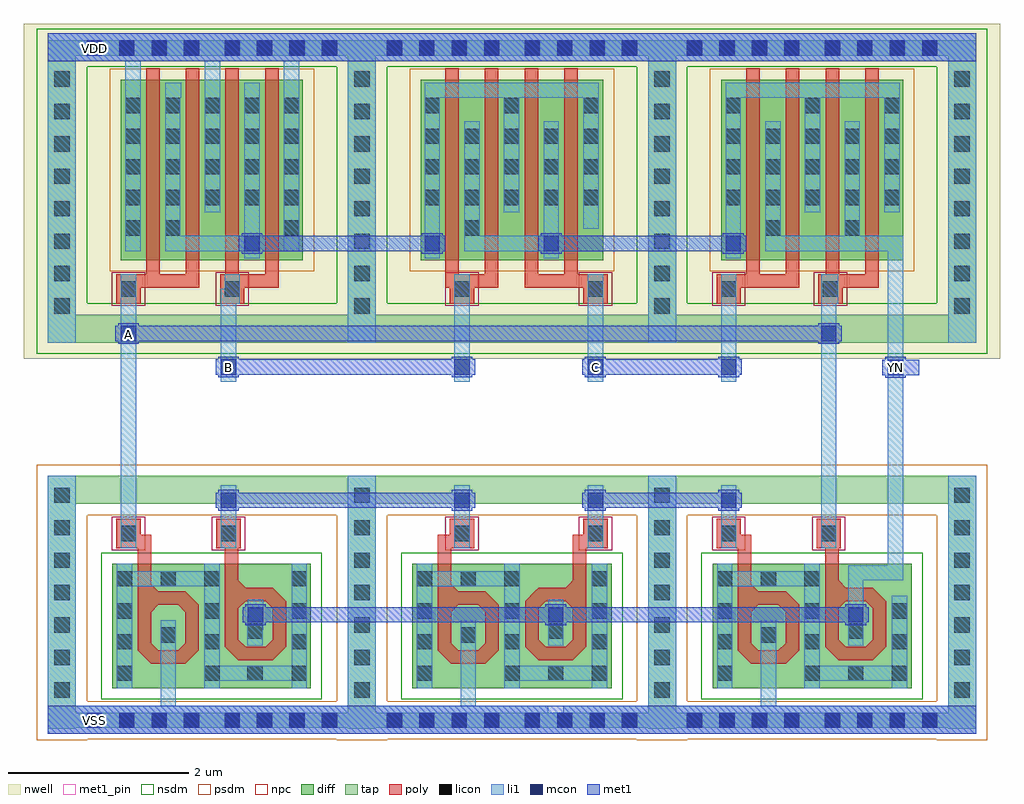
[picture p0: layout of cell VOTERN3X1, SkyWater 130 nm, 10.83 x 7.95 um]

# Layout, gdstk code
import gdstk
lib = gdstk.Library(unit=1e-6, precision=1e-09)
def R(c, l, rs):  # rectangles x0, y0, x1, y1
    for r in rs: c.add(gdstk.rectangle(r[:2], r[2:], *l))
def A(c, l, x, y, w, h, nx, ny, dx, dy):  # array of equal rectangles
    R(c, l, [(x+i*dx, y+j*dy, x+i*dx+w, y+j*dy+h) for i in range(nx) for j in range(ny)])
def P(c, l, *ps):  # polygons
    for p in ps: c.add(gdstk.Polygon(p, *l))
nwell = (64, 20)
diff = (65, 20)
tap = (65, 44)
poly = (66, 20)
licon = (66, 44)
li1 = (67, 20)
mcon = (67, 44)
met1_pin = (68, 16)
met1 = (68, 20)
nsdm = (93, 44)
psdm = (94, 20)
npc = (95, 20)

votern3x1 = lib.new_cell('VOTERN3X1')
R(votern3x1, nwell, [(-0.42,4.165,10.41,7.88)])
A(votern3x1, diff, 0.655, 5.26, 2.02, 2, 3, 1, 3.33, 0)
R(votern3x1, diff, [(0.56,0.51,2.76,1.89), (3.89,0.51,6.1,1.89), (7.22,0.51,9.43,1.89)])
A(votern3x1, tap, -0.155, 0.06, 0.31, 0.01, 4, 1, 3.33, 0)
A(votern3x1, tap, -0.155, 0.24, 0.31, 2.315, 4, 1, 3.33, 0)
A(votern3x1, tap, -0.155, 4.655, 0.31, 2.875, 4, 1, 3.33, 0)
R(votern3x1, tap, [(-0.155,0.07,10.145,0.24), (-0.155,2.555,10.145,2.865), (-0.155,4.345,10.145,4.655), (-0.155,7.53,10.145,7.7)])
A(votern3x1, poly, 1.96, 0.82, 0.38, 0.15, 3, 1, 3.33, 0)
A(votern3x1, poly, 0.84, 1.435, 0.53, 0.15, 3, 1, 3.33, 0)
A(votern3x1, poly, 0.84, 1.585, 0.15, 0.475, 3, 1, 3.33, 0)
A(votern3x1, poly, 4.305, 2.21, 0.27, 0.18, 3, 2, 1.48, 2.565)
A(votern3x1, poly, 0.935, 5.105, 0.15, 2.285, 4, 1, 0.44, 0)
A(votern3x1, poly, 4.255, 5.105, 0.15, 2.285, 4, 1, 0.44, 0)
A(votern3x1, poly, 7.595, 5.105, 0.15, 2.285, 4, 1, 0.44, 0)
R(votern3x1, poly, [(0.99,0.78,1.37,0.93), (4.32,0.78,4.7,0.82), (7.65,0.78,8.03,0.82), (4.28,0.82,4.7,0.93), (7.61,0.82,8.03,0.93), (0.84,0.93,0.99,1.435), (1.37,0.93,1.52,1.435), (4.17,0.93,4.32,1.435), (4.7,0.93,4.85,1.435), (7.5,0.93,7.65,1.435), (8.03,0.93,8.18,1.435), (1.81,0.97,1.96,1.475), (2.34,0.97,2.49,1.475), (5.14,0.97,5.29,1.475), (5.67,0.97,5.82,1.475), (8.47,0.97,8.62,1.4), (9,0.97,9.15,1.4), (8.47,1.4,8.625,1.475), (8.995,1.4,9.15,1.475), (1.81,1.475,2.34,1.625), (5.25,1.475,5.82,1.585), (8.47,1.475,9,1.625), (5.29,1.585,5.82,1.625), (1.81,1.625,1.96,2.06), (5.63,1.625,5.82,1.665), (8.47,1.625,8.62,2.06), (5.67,1.665,5.82,2.06), (0.605,2.06,0.99,2.21), (1.715,2.06,1.985,2.39), (4.17,2.06,4.575,2.21), (5.67,2.06,6.055,2.21), (7.265,2.06,7.65,2.21), (8.375,2.06,8.645,2.39), (0.605,2.21,0.875,2.39), (0.605,4.775,0.875,4.955), (1.755,4.775,2.025,4.955), (8.395,4.775,8.665,4.955), (0.605,4.955,1.525,5.105), (1.755,4.955,2.405,5.105), (4.255,4.955,4.845,5.105), (5.135,4.955,6.055,5.105), (7.265,4.955,8.185,5.105), (8.395,4.955,9.065,5.105)])
P(votern3x1, poly, [(0.99,1.665),(0.99,1.585),(1.07,1.585)],
  [(1.96,1.705),(1.96,1.625),(2.04,1.625)],
  [(1.37,1.585),(1.37,1.435),(1.52,1.435)],
  [(0.99,1.355),(0.99,1.435),(1.07,1.435)],
  [(1.29,1.435),(1.37,1.435),(1.37,1.355)],
  [(0.99,1.01),(0.99,0.93),(1.07,0.93)],
  [(1.29,0.93),(1.37,0.93),(1.37,1.01)],
  [(0.84,0.93),(0.99,0.93),(0.99,0.78)],
  [(1.37,0.78),(1.37,0.93),(1.52,0.93)],
  [(2.34,1.625),(2.34,1.475),(2.49,1.475)],
  [(1.96,1.395),(1.96,1.475),(2.04,1.475)],
  [(2.26,1.475),(2.34,1.475),(2.34,1.395)],
  [(1.96,1.05),(1.96,0.97),(2.04,0.97)],
  [(2.26,0.97),(2.34,0.97),(2.34,1.05)],
  [(1.81,0.97),(1.96,0.97),(1.96,0.82)],
  [(2.34,0.82),(2.34,0.97),(2.49,0.97)],
  [(5.63,1.665),(5.67,1.665),(5.67,1.705)],
  [(4.32,1.665),(4.32,1.585),(4.4,1.585)],
  [(5.59,1.625),(5.63,1.625),(5.63,1.665)],
  [(5.25,1.585),(5.29,1.585),(5.29,1.625)],
  [(4.7,1.585),(4.7,1.435),(4.85,1.435)],
  [(4.32,1.355),(4.32,1.435),(4.4,1.435)],
  [(4.62,1.435),(4.7,1.435),(4.7,1.355)],
  [(4.32,1.01),(4.32,0.93),(4.4,0.93)],
  [(4.62,0.93),(4.7,0.93),(4.7,1.01)],
  [(4.17,0.93),(4.28,0.93),(4.28,0.82)],
  [(4.28,0.82),(4.32,0.82),(4.32,0.78)],
  [(4.7,0.78),(4.7,0.93),(4.85,0.93)],
  [(5.14,1.475),(5.25,1.475),(5.25,1.585)],
  [(5.29,1.395),(5.29,1.475),(5.37,1.475)],
  [(5.59,1.475),(5.67,1.475),(5.67,1.395)],
  [(5.29,1.05),(5.29,0.97),(5.37,0.97)],
  [(5.59,0.97),(5.67,0.97),(5.67,1.05)],
  [(5.14,0.97),(5.29,0.97),(5.29,0.82)],
  [(5.67,0.82),(5.67,0.97),(5.82,0.97)],
  [(7.65,1.665),(7.65,1.585),(7.73,1.585)],
  [(8.62,1.705),(8.62,1.625),(8.7,1.625)],
  [(8.03,1.585),(8.03,1.435),(8.18,1.435)],
  [(7.65,1.355),(7.65,1.435),(7.73,1.435)],
  [(7.95,1.435),(8.03,1.435),(8.03,1.355)],
  [(7.65,1.01),(7.65,0.93),(7.73,0.93)],
  [(7.95,0.93),(8.03,0.93),(8.03,1.01)],
  [(7.5,0.93),(7.61,0.93),(7.61,0.82)],
  [(7.61,0.82),(7.65,0.82),(7.65,0.78)],
  [(8.03,0.78),(8.03,0.93),(8.18,0.93)],
  [(9,1.625),(9,1.475),(9.15,1.475)],
  [(8.625,1.4),(8.625,1.475),(8.7,1.475)],
  [(8.92,1.475),(8.995,1.475),(8.995,1.4)],
  [(8.62,1.05),(8.62,0.97),(8.7,0.97)],
  [(8.92,0.97),(9,0.97),(9,1.05)],
  [(8.47,0.97),(8.62,0.97),(8.62,0.82)],
  [(9,0.82),(9,0.97),(9.15,0.97)])
A(votern3x1, licon, 0.275, 0.07, 0.17, 0.17, 4, 2, 0.36, 7.46)
A(votern3x1, licon, 1.805, 0.07, 0.17, 0.17, 4, 2, 0.36, 7.46)
A(votern3x1, licon, 3.605, 0.07, 0.17, 0.17, 4, 2, 0.36, 7.46)
A(votern3x1, licon, 5.135, 0.07, 0.17, 0.17, 4, 2, 0.36, 7.46)
A(votern3x1, licon, 6.935, 0.07, 0.17, 0.17, 4, 2, 0.36, 7.46)
A(votern3x1, licon, 8.465, 0.07, 0.17, 0.17, 4, 2, 0.36, 7.46)
A(votern3x1, licon, -0.085, 0.405, 0.17, 0.17, 4, 7, 3.33, 0.36)
A(votern3x1, licon, 4.91, 0.59, 0.17, 0.17, 3, 1, 0.485, 0)
A(votern3x1, licon, 8.24, 0.59, 0.17, 0.17, 3, 1, 0.485, 0)
A(votern3x1, licon, 0.61, 0.94, 0.17, 0.17, 3, 2, 0.97, 0.34)
A(votern3x1, licon, 3.94, 0.94, 0.17, 0.17, 3, 2, 0.97, 0.34)
A(votern3x1, licon, 7.27, 0.94, 0.17, 0.17, 3, 2, 0.97, 0.34)
A(votern3x1, licon, 1.095, 1.015, 0.17, 0.17, 3, 1, 3.33, 0)
A(votern3x1, licon, 0.61, 1.64, 0.17, 0.17, 3, 1, 0.485, 0)
A(votern3x1, licon, 3.94, 1.64, 0.17, 0.17, 3, 1, 0.485, 0)
A(votern3x1, licon, 7.27, 1.64, 0.17, 0.17, 3, 1, 0.485, 0)
A(votern3x1, licon, 4.355, 2.14, 0.17, 0.17, 3, 2, 1.48, 2.715)
A(votern3x1, licon, -0.085, 4.665, 0.17, 0.17, 4, 8, 3.33, 0.36)
A(votern3x1, licon, 0.705, 5.87, 0.17, 0.17, 5, 4, 0.44, 0.34)
A(votern3x1, licon, 4.025, 5.87, 0.17, 0.17, 5, 3, 0.44, 0.34)
A(votern3x1, licon, 7.365, 5.87, 0.17, 0.17, 5, 3, 0.44, 0.34)
A(votern3x1, licon, 4.025, 6.89, 0.17, 0.17, 3, 1, 0.88, 0)
A(votern3x1, licon, 7.365, 6.89, 0.17, 0.17, 3, 1, 0.88, 0)
R(votern3x1, licon, [(0.61,0.59,0.78,0.76), (1.58,0.59,1.75,0.76), (2.06,0.59,2.23,0.76), (2.55,0.59,2.72,0.76), (3.94,0.59,4.11,0.76), (7.27,0.59,7.44,0.76), (2.06,1.06,2.23,1.23), (5.395,1.06,5.565,1.23), (8.725,1.06,8.895,1.23), (2.55,1.64,2.72,1.81), (5.88,1.64,6.05,1.81), (0.655,2.14,0.825,2.31), (1.765,2.14,1.935,2.31), (8.425,2.14,8.595,2.31), (0.655,4.855,0.825,5.025), (1.805,4.855,1.975,5.025), (8.445,4.855,8.615,5.025), (0.705,5.53,0.875,5.7), (1.145,5.53,1.315,5.7), (2.465,5.53,2.635,5.7), (4.465,5.53,4.635,5.7), (7.805,5.53,7.975,5.7), (8.685,5.53,8.855,5.7)])
A(votern3x1, li1, -0.155, 0.315, 0.31, 2.55, 4, 1, 3.33, 0)
A(votern3x1, li1, 1.095, 0.315, 0.17, 0.95, 3, 1, 3.33, 0)
A(votern3x1, li1, 0.61, 0.51, 0.17, 1.13, 3, 1, 3.33, 0)
A(votern3x1, li1, 1.58, 0.59, 1.14, 0.17, 3, 1, 3.33, 0)
A(votern3x1, li1, 1.58, 0.76, 0.17, 0.88, 3, 1, 3.33, 0)
A(votern3x1, li1, 0.61, 1.64, 1.14, 0.17, 3, 1, 3.33, 0)
A(votern3x1, li1, 4.355, 2.06, 0.17, 0.7, 3, 1, 1.48, 0)
A(votern3x1, li1, 4.355, 3.91, 0.17, 1.195, 3, 1, 1.48, 0)
A(votern3x1, li1, -0.155, 4.345, 0.31, 3.12, 4, 1, 3.33, 0)
R(votern3x1, li1, [(-0.155,0.005,10.145,0.24), (-0.155,0.24,5.395,0.315), (5.565,0.24,10.145,0.315), (1.58,0.51,1.75,0.59), (2.55,0.51,2.72,0.59), (4.91,0.51,5.08,0.59), (5.88,0.51,6.05,0.59), (8.24,0.51,8.41,0.59), (9.21,0.51,9.38,0.59), (2.55,0.76,2.72,1.89), (5.88,0.76,6.05,1.89), (9.21,0.76,9.38,1.535), (2.06,0.98,2.23,1.16), (5.395,0.98,5.565,1.49), (8.725,0.98,8.895,1.705), (2.06,1.16,2.235,1.315), (2.065,1.315,2.235,1.49), (8.725,1.705,9.335,1.875), (0.61,1.81,0.78,1.89), (1.58,1.81,1.75,1.89), (3.94,1.81,4.11,1.89), (4.91,1.81,5.08,1.89), (7.27,1.81,7.44,1.89), (8.24,1.81,8.41,1.89), (9.165,1.875,9.335,5.36), (0.655,2.06,0.825,5.105), (1.765,2.06,1.935,2.76), (8.425,2.06,8.595,4.775), (1.765,3.91,1.935,4.775), (1.765,4.775,1.975,4.945), (8.425,4.775,8.615,5.105), (1.805,4.945,1.975,5.105), (2.025,5.28,2.195,5.36), (4.025,5.28,4.195,7.06), (5.345,5.28,5.515,5.36), (7.365,5.28,7.535,7.06), (0.705,5.36,0.875,7.465), (1.145,5.36,2.195,5.53), (2.465,5.36,2.635,7.465), (4.465,5.36,5.515,5.53), (7.805,5.36,9.335,5.53), (1.145,5.53,1.315,7.06), (2.025,5.53,2.195,7.23), (4.465,5.53,4.635,6.8), (5.345,5.53,5.515,6.8), (7.805,5.53,7.975,6.8), (8.685,5.53,8.855,6.8), (5.785,5.61,5.955,7.06), (1.585,5.79,1.755,7.465), (4.905,5.79,5.075,7.06), (8.245,5.79,8.415,7.06), (9.125,5.79,9.295,7.06), (1.145,7.06,1.325,7.23), (4.025,7.06,5.955,7.23), (7.365,7.06,9.295,7.23), (-0.155,7.465,10.145,7.775)])
A(votern3x1, mcon, 0.275, 0.07, 0.17, 0.17, 4, 2, 0.36, 7.46)
A(votern3x1, mcon, 1.805, 0.07, 0.17, 0.17, 4, 2, 0.36, 7.46)
A(votern3x1, mcon, 3.605, 0.07, 0.17, 0.17, 4, 2, 0.36, 7.46)
A(votern3x1, mcon, 5.135, 0.07, 0.17, 0.17, 4, 2, 0.36, 7.46)
A(votern3x1, mcon, 6.935, 0.07, 0.17, 0.17, 4, 2, 0.36, 7.46)
A(votern3x1, mcon, 8.465, 0.07, 0.17, 0.17, 4, 2, 0.36, 7.46)
A(votern3x1, mcon, 2.065, 1.24, 0.17, 0.17, 3, 1, 3.33, 0)
A(votern3x1, mcon, 4.355, 2.51, 0.17, 0.17, 3, 2, 1.48, 1.48)
R(votern3x1, mcon, [(1.765,2.51,1.935,2.68), (9.165,3.985,9.335,4.155), (1.765,3.99,1.935,4.16), (0.655,4.36,0.825,4.53), (8.425,4.36,8.595,4.53), (2.025,5.36,2.195,5.53), (4.025,5.36,4.195,5.53), (5.345,5.36,5.515,5.53), (7.365,5.36,7.535,5.53)])
R(votern3x1, met1_pin, [(0.275,0.065,0.445,0.235), (1.765,3.985,1.935,4.155), (5.835,3.985,6.005,4.155), (9.165,3.985,9.335,4.155), (0.655,4.355,0.825,4.525), (0.275,7.525,0.445,7.695)])
A(votern3x1, met1, 2.035, 1.21, 0.23, 0.03, 3, 2, 3.33, 0.2)
A(votern3x1, met1, 4.325, 2.48, 0.23, 0.03, 3, 2, 1.48, 0.2)
A(votern3x1, met1, 4.325, 3.96, 0.23, 0.03, 3, 2, 1.48, 0.2)
R(votern3x1, met1, [(-0.155,0.005,10.145,0.315), (2.005,1.24,8.955,1.41), (1.735,2.48,1.965,2.51), (1.705,2.51,4.585,2.68), (5.775,2.51,7.545,2.68), (1.735,2.68,1.965,2.71), (9.135,3.955,9.365,3.985), (1.735,3.96,1.965,3.99), (9.105,3.985,9.515,4.155), (1.705,3.99,4.585,4.16), (5.775,3.99,7.545,4.16), (9.135,4.155,9.365,4.185), (1.735,4.16,1.965,4.19), (0.625,4.33,0.855,4.36), (8.395,4.33,8.625,4.36), (0.595,4.36,8.655,4.53), (0.625,4.53,0.855,4.56), (8.395,4.53,8.625,4.56), (1.995,5.33,2.225,5.36), (3.995,5.33,4.225,5.36), (5.315,5.33,5.545,5.36), (7.335,5.33,7.565,5.36), (1.965,5.36,4.255,5.53), (5.285,5.36,7.595,5.53), (1.995,5.53,2.225,5.56), (3.995,5.53,4.225,5.56), (5.315,5.53,5.545,5.56), (7.335,5.53,7.565,5.56), (-0.155,7.465,10.145,7.775)])
A(votern3x1, nsdm, -0.28, 4.78, 0.56, 2.625, 4, 1, 3.33, 0)
R(votern3x1, nsdm, [(0.435,0.385,2.885,2.015), (3.765,0.385,6.225,2.015), (7.095,0.385,9.555,2.015), (-0.28,4.22,10.27,4.78), (-0.28,7.405,10.27,7.825)])
A(votern3x1, psdm, -0.28, -0.065, 0.56, 0.01, 4, 1, 3.33, 0)
A(votern3x1, psdm, -0.28, 0.365, 0.56, 2.065, 4, 1, 3.33, 0)
A(votern3x1, psdm, 0.53, 5.135, 2.27, 2.25, 3, 1, 3.33, 0)
R(votern3x1, psdm, [(-0.28,-0.055,10.27,0.365), (-0.28,2.43,10.27,2.99)])
A(votern3x1, npc, 4.255, 2.04, 0.37, 0.37, 3, 2, 1.48, 2.715)
R(votern3x1, npc, [(0.555,2.04,0.925,2.41), (1.665,2.04,2.035,2.41), (8.325,2.04,8.695,2.41), (0.555,4.755,0.925,5.125), (1.705,4.755,2.075,5.125), (8.345,4.755,8.715,5.125)])
votern3x1.add(gdstk.Label('YN', (9.25,4.07), layer=68, texttype=16))
votern3x1.add(gdstk.Label('A', (0.74,4.44), layer=68, texttype=16))
votern3x1.add(gdstk.Label('B', (1.85,4.07), layer=68, texttype=16))
votern3x1.add(gdstk.Label('C', (5.92,4.07), layer=68, texttype=16))
votern3x1.add(gdstk.Label('VDD', (0.36,7.61), layer=68, texttype=16))
votern3x1.add(gdstk.Label('VSS', (0.36,0.15), layer=68, texttype=16))

lib.write_gds('VOTERN3X1.gds')
